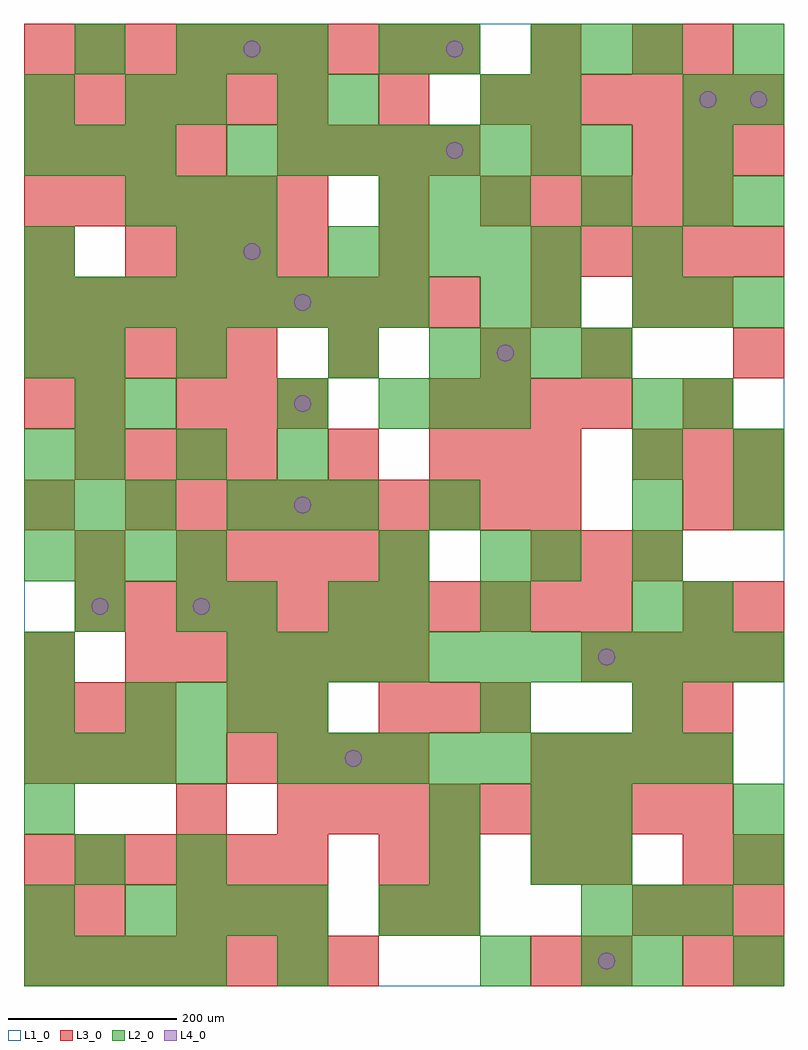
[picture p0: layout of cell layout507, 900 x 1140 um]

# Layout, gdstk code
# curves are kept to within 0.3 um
import gdstk
lib = gdstk.Library(unit=1e-6, precision=1e-09)
def R(c, l, rs):  # rectangles x0, y0, x1, y1
    for r in rs: c.add(gdstk.rectangle(r[:2], r[2:], *l))
def A(c, l, x, y, w, h, nx, ny, dx, dy):  # array of equal rectangles
    R(c, l, [(x+i*dx, y+j*dy, x+i*dx+w, y+j*dy+h) for i in range(nx) for j in range(ny)])
def P(c, l, *ps):  # polygons
    for p in ps: c.add(gdstk.Polygon(p, *l))
L1_0 = (1, 0)
L2_0 = (2, 0)
L3_0 = (3, 0)
L4_0 = (4, 0)

layout507 = lib.new_cell('layout507')
R(layout507, L1_0, [(0,0,900,1140)])
A(layout507, L2_0, 0, 0, 60, 60, 4, 3, 60, 240)
A(layout507, L2_0, 0, 60, 60, 60, 1, 3, 0, 120)
A(layout507, L2_0, 120, 60, 60, 60, 4, 2, 60, 240)
A(layout507, L2_0, 480, 60, 60, 60, 1, 3, 0, 60)
A(layout507, L2_0, 660, 60, 60, 60, 3, 1, 60, 0)
A(layout507, L2_0, 180, 120, 60, 60, 1, 3, 0, 300)
A(layout507, L2_0, 600, 180, 60, 60, 1, 3, 0, 300)
A(layout507, L2_0, 300, 240, 60, 60, 9, 1, 60, 0)
A(layout507, L2_0, 240, 360, 60, 60, 11, 1, 60, 0)
A(layout507, L2_0, 360, 420, 60, 60, 1, 3, 0, 300)
A(layout507, L2_0, 720, 420, 60, 60, 1, 5, 0, 60)
A(layout507, L2_0, 780, 420, 60, 60, 1, 3, 0, 240)
A(layout507, L2_0, 0, 540, 60, 60, 3, 2, 60, 420)
A(layout507, L2_0, 240, 540, 60, 60, 3, 1, 60, 0)
A(layout507, L2_0, 0, 600, 60, 60, 1, 3, 0, 120)
A(layout507, L2_0, 60, 600, 60, 60, 3, 1, 120, 0)
A(layout507, L2_0, 420, 660, 60, 60, 3, 2, 60, 240)
A(layout507, L2_0, 480, 720, 60, 60, 4, 1, 60, 0)
A(layout507, L2_0, 0, 780, 60, 60, 8, 1, 60, 0)
A(layout507, L2_0, 720, 780, 60, 60, 3, 1, 60, 0)
A(layout507, L2_0, 360, 840, 60, 60, 5, 1, 60, 0)
A(layout507, L2_0, 120, 900, 60, 60, 3, 1, 60, 0)
A(layout507, L2_0, 240, 960, 60, 60, 8, 1, 60, 0)
A(layout507, L2_0, 180, 1080, 60, 60, 3, 1, 60, 0)
A(layout507, L2_0, 600, 1080, 60, 60, 3, 1, 60, 0)
R(layout507, L2_0, [(300,0,360,60), (540,0,600,60), (660,0,720,60), (720,0,780,60), (840,0,900,60), (420,60,480,120), (60,120,120,180), (600,120,660,180), (660,120,720,180), (840,120,900,180), (660,180,720,240), (840,180,900,240), (540,300,600,360), (720,300,780,360), (0,360,60,420), (60,420,120,480), (240,420,300,480), (420,420,480,480), (540,420,600,480), (420,480,480,540), (540,480,600,540), (480,540,540,600), (840,540,900,600), (840,600,900,660), (60,660,120,720), (120,660,180,720), (300,660,360,720), (60,720,120,780), (540,780,600,840), (180,840,240,900), (240,840,300,900), (720,840,780,900), (660,900,720,960), (840,900,900,960), (780,960,840,1020), (0,1020,60,1080), (120,1020,180,1080), (180,1020,240,1080), (300,1020,360,1080), (540,1020,600,1080), (600,1020,660,1080), (780,1020,840,1080), (840,1020,900,1080), (60,1080,120,1140), (420,1080,480,1140), (480,1080,540,1140), (840,1080,900,1140)])
A(layout507, L3_0, 0, 0, 60, 60, 7, 1, 60, 0)
A(layout507, L3_0, 180, 60, 60, 60, 3, 2, 60, 600)
A(layout507, L3_0, 720, 60, 60, 60, 3, 2, 60, 540)
A(layout507, L3_0, 0, 120, 60, 60, 6, 2, 60, 780)
A(layout507, L3_0, 300, 180, 60, 60, 9, 1, 60, 0)
A(layout507, L3_0, 0, 240, 60, 60, 3, 2, 60, 60)
A(layout507, L3_0, 240, 240, 60, 60, 4, 1, 60, 0)
A(layout507, L3_0, 600, 240, 60, 60, 4, 1, 60, 0)
A(layout507, L3_0, 420, 300, 60, 60, 3, 1, 60, 0)
A(layout507, L3_0, 780, 300, 60, 60, 1, 5, 0, 120)
A(layout507, L3_0, 120, 360, 60, 60, 6, 1, 60, 0)
A(layout507, L3_0, 660, 360, 60, 60, 4, 1, 60, 0)
A(layout507, L3_0, 60, 420, 60, 60, 11, 1, 60, 0)
A(layout507, L3_0, 180, 480, 60, 60, 5, 1, 60, 0)
A(layout507, L3_0, 600, 480, 60, 60, 3, 1, 60, 0)
A(layout507, L3_0, 120, 540, 60, 60, 9, 1, 60, 0)
A(layout507, L3_0, 60, 600, 60, 60, 4, 1, 60, 0)
A(layout507, L3_0, 480, 600, 60, 60, 3, 1, 60, 0)
A(layout507, L3_0, 480, 660, 60, 60, 4, 1, 60, 0)
A(layout507, L3_0, 0, 720, 60, 60, 5, 1, 60, 0)
A(layout507, L3_0, 0, 780, 60, 60, 9, 2, 60, 300)
A(layout507, L3_0, 120, 840, 60, 60, 4, 1, 60, 0)
A(layout507, L3_0, 600, 840, 60, 60, 5, 1, 60, 0)
A(layout507, L3_0, 540, 900, 60, 60, 5, 1, 60, 0)
A(layout507, L3_0, 0, 960, 60, 60, 4, 1, 60, 0)
A(layout507, L3_0, 300, 960, 60, 60, 4, 1, 60, 0)
A(layout507, L3_0, 720, 960, 60, 60, 3, 1, 60, 0)
A(layout507, L3_0, 0, 1020, 60, 60, 6, 1, 60, 0)
A(layout507, L3_0, 540, 1020, 60, 60, 6, 1, 60, 0)
R(layout507, L3_0, [(600,0,660,60), (660,0,720,60), (780,0,840,60), (840,0,900,60), (0,60,60,120), (60,60,120,120), (420,60,480,120), (480,60,540,120), (420,120,480,180), (480,120,540,180), (600,120,660,180), (660,120,720,180), (780,120,840,180), (840,120,900,180), (180,180,240,240), (240,300,300,360), (300,300,360,360), (720,300,780,360), (0,360,60,420), (840,420,900,480), (60,480,120,540), (0,540,60,600), (840,540,900,600), (360,600,420,660), (0,660,60,720), (60,660,120,720), (360,720,420,780), (540,720,600,780), (660,720,720,780), (840,720,900,780), (600,780,660,840), (720,780,780,840), (0,840,60,900), (420,840,480,900), (420,900,480,960), (600,960,660,1020), (420,1020,480,1080), (600,1080,660,1140), (720,1080,780,1140), (780,1080,840,1140)])
P(layout507, L4_0, [(100,450),(99.239,453.827),(97.071,457.071),(93.827,459.239),(90,460),(86.173,459.239),(82.929,457.071),(80.761,453.827),(80,450),(80.761,446.173),(82.929,442.929),(86.173,440.761),(90,440),(93.827,440.761),(97.071,442.929),(99.239,446.173)],
  [(220,450),(219.239,453.827),(217.071,457.071),(213.827,459.239),(210,460),(206.173,459.239),(202.929,457.071),(200.761,453.827),(200,450),(200.761,446.173),(202.929,442.929),(206.173,440.761),(210,440),(213.827,440.761),(217.071,442.929),(219.239,446.173)],
  [(280,870),(279.239,873.827),(277.071,877.071),(273.827,879.239),(270,880),(266.173,879.239),(262.929,877.071),(260.761,873.827),(260,870),(260.761,866.173),(262.929,862.929),(266.173,860.761),(270,860),(273.827,860.761),(277.071,862.929),(279.239,866.173)],
  [(280,1110),(279.239,1113.827),(277.071,1117.071),(273.827,1119.239),(270,1120),(266.173,1119.239),(262.929,1117.071),(260.761,1113.827),(260,1110),(260.761,1106.173),(262.929,1102.929),(266.173,1100.761),(270,1100),(273.827,1100.761),(277.071,1102.929),(279.239,1106.173)],
  [(340,570),(339.239,573.827),(337.071,577.071),(333.827,579.239),(330,580),(326.173,579.239),(322.929,577.071),(320.761,573.827),(320,570),(320.761,566.173),(322.929,562.929),(326.173,560.761),(330,560),(333.827,560.761),(337.071,562.929),(339.239,566.173)],
  [(340,690),(339.239,693.827),(337.071,697.071),(333.827,699.239),(330,700),(326.173,699.239),(322.929,697.071),(320.761,693.827),(320,690),(320.761,686.173),(322.929,682.929),(326.173,680.761),(330,680),(333.827,680.761),(337.071,682.929),(339.239,686.173)],
  [(340,810),(339.239,813.827),(337.071,817.071),(333.827,819.239),(330,820),(326.173,819.239),(322.929,817.071),(320.761,813.827),(320,810),(320.761,806.173),(322.929,802.929),(326.173,800.761),(330,800),(333.827,800.761),(337.071,802.929),(339.239,806.173)],
  [(400,270),(399.239,273.827),(397.071,277.071),(393.827,279.239),(390,280),(386.173,279.239),(382.929,277.071),(380.761,273.827),(380,270),(380.761,266.173),(382.929,262.929),(386.173,260.761),(390,260),(393.827,260.761),(397.071,262.929),(399.239,266.173)],
  [(520,990),(519.239,993.827),(517.071,997.071),(513.827,999.239),(510,1000),(506.173,999.239),(502.929,997.071),(500.761,993.827),(500,990),(500.761,986.173),(502.929,982.929),(506.173,980.761),(510,980),(513.827,980.761),(517.071,982.929),(519.239,986.173)],
  [(520,1110),(519.239,1113.827),(517.071,1117.071),(513.827,1119.239),(510,1120),(506.173,1119.239),(502.929,1117.071),(500.761,1113.827),(500,1110),(500.761,1106.173),(502.929,1102.929),(506.173,1100.761),(510,1100),(513.827,1100.761),(517.071,1102.929),(519.239,1106.173)],
  [(580,750),(579.239,753.827),(577.071,757.071),(573.827,759.239),(570,760),(566.173,759.239),(562.929,757.071),(560.761,753.827),(560,750),(560.761,746.173),(562.929,742.929),(566.173,740.761),(570,740),(573.827,740.761),(577.071,742.929),(579.239,746.173)],
  [(700,30),(699.239,33.827),(697.071,37.071),(693.827,39.239),(690,40),(686.173,39.239),(682.929,37.071),(680.761,33.827),(680,30),(680.761,26.173),(682.929,22.929),(686.173,20.761),(690,20),(693.827,20.761),(697.071,22.929),(699.239,26.173)],
  [(700,390),(699.239,393.827),(697.071,397.071),(693.827,399.239),(690,400),(686.173,399.239),(682.929,397.071),(680.761,393.827),(680,390),(680.761,386.173),(682.929,382.929),(686.173,380.761),(690,380),(693.827,380.761),(697.071,382.929),(699.239,386.173)],
  [(820,1050),(819.239,1053.827),(817.071,1057.071),(813.827,1059.239),(810,1060),(806.173,1059.239),(802.929,1057.071),(800.761,1053.827),(800,1050),(800.761,1046.173),(802.929,1042.929),(806.173,1040.761),(810,1040),(813.827,1040.761),(817.071,1042.929),(819.239,1046.173)],
  [(880,1050),(879.239,1053.827),(877.071,1057.071),(873.827,1059.239),(870,1060),(866.173,1059.239),(862.929,1057.071),(860.761,1053.827),(860,1050),(860.761,1046.173),(862.929,1042.929),(866.173,1040.761),(870,1040),(873.827,1040.761),(877.071,1042.929),(879.239,1046.173)])

lib.write_gds('layout507.gds')
